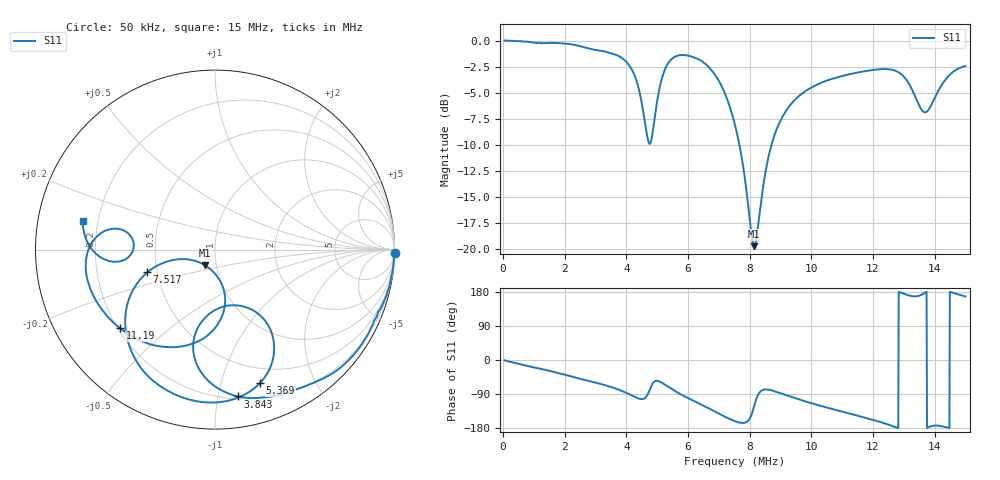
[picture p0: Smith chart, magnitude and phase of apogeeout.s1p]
# Hz S RI R 50
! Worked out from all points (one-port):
!   1010 points, 50 kHz to 15 MHz, reference 50 ohm
!   lowest |S11| = -19.7 dB at 8.139 MHz (marker M1), VSWR 1.23, Z = 44 - j7.73 ohm
!   |S11| at or under -10 dB: 7.668 MHz to 8.706 MHz (1.039 MHz wide, 12.7 % of centre)
!   S11 on the Smith chart (normalised r, x): 50 kHz: open; 3.843 MHz: 0.22, -1.14; 5.369 MHz: 0.35, -1.34; 7.517 MHz: 0.44, -0.13; 11.19 MHz: 0.21, -0.35; 15 MHz: 0.14, +0.11
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50000  1.001 -0.0177
1931616  0.771 -0.5874
2716816  0.5421 -0.7446
3798432  0.1478 -0.8227
3842832  0.1254 -0.8179
4154032  -0.0322 -0.7362
4435532  -0.1216 -0.5466
4613248  -0.0657 -0.3916
4791048  0.1007 -0.3099
5072548  0.3236 -0.4925
5368848  0.2514 -0.7426
5665248  0.0588 -0.845
6168964  -0.2471 -0.7949
6717164  -0.4651 -0.568
7117164  -0.4939 -0.3291
7517264  -0.3773 -0.1268
7532080  -0.3705 -0.1214
8139480  -0.0563 -0.0868
8717280  0.0545 -0.3157
9398896  -0.076 -0.5018
1.02137e7  -0.2982 -0.5403
1.119161e7  -0.529 -0.4379
1.126571e7  -0.5438 -0.4259
1.248053e7  -0.718 -0.1291
1.313253e7  -0.6258 0.0976
1.371034e7  -0.4535 0.0119
1.419924e7  -0.5993 -0.061
1.499934e7  -0.7376 0.1612
